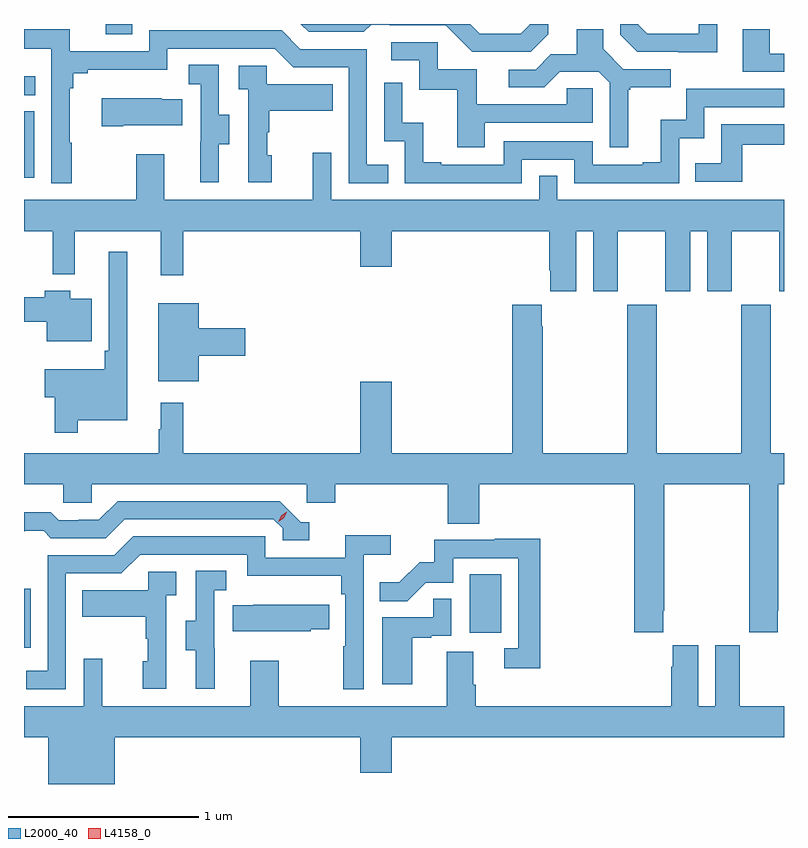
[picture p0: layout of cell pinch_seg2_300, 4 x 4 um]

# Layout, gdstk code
import gdstk
lib = gdstk.Library(unit=1e-6, precision=1e-09)
def R(c, l, rs):  # rectangles x0, y0, x1, y1
    for r in rs: c.add(gdstk.rectangle(r[:2], r[2:], *l))
def P(c, l, *ps):  # polygons
    for p in ps: c.add(gdstk.Polygon(p, *l))
L2000_40 = (2000, 40)
L4158_0 = (4158, 0)

pinch_seg2_300 = lib.new_cell('pinch_seg2_300')
R(pinch_seg2_300, L2000_40, [(930.469,636.12,930.504,636.43), (932.816,636.198,932.98,636.505), (930.469,638.592,930.523,638.943), (930.469,639.028,930.527,639.127), (930.899,639.348,931.038,639.402)])
P(pinch_seg2_300, L2000_40, [(934.117,639.402),(934.02,639.402),(934.02,639.351),(933.75,639.351),(933.702,639.399),(933.702,639.402),(933.606,639.402),(933.606,639.345),(933.696,639.255),(933.912,639.255),(933.912,639.254),(934.117,639.254)],
  [(933.229,639.349),(933.229,639.402),(933.132,639.402),(933.132,639.399),(933.084,639.351),(932.868,639.351),(932.817,639.402),(931.926,639.402),(931.968,639.36),(932.257,639.36),(932.296,639.399),(932.395,639.399),(932.395,639.396),(932.688,639.396),(932.829,639.255),(933.135,639.255)],
  [(934.469,639.246),(934.393,639.246),(934.393,639.374),(934.253,639.374),(934.253,639.15),(934.469,639.15)],
  [(933.649,639.057),(933.661,639.057),(933.661,639.068),(933.874,639.068),(933.874,639.165),(933.624,639.165),(933.517,639.272),(933.517,639.374),(933.377,639.374),(933.377,639.242),(933.242,639.242),(933.162,639.162),(933.021,639.162),(933.021,639.069),(933.208,639.069),(933.289,639.15),(933.495,639.15),(933.552,639.093),(933.552,638.754),(933.649,638.754)],
  [(930.721,638.777),(930.709,638.777),(930.709,639.065),(930.728,639.065),(930.728,639.142),(930.805,639.142),(930.805,639.161),(931.224,639.161),(931.224,639.273),(931.788,639.273),(931.887,639.174),(932.178,639.174),(932.178,638.565),(932.387,638.565),(932.387,638.661),(932.274,638.661),(932.274,639.27),(931.924,639.27),(931.825,639.369),(931.128,639.369),(931.128,639.258),(930.71,639.258),(930.71,639.374),(930.471,639.374),(930.471,639.272),(930.612,639.272),(930.612,638.565),(930.721,638.565)],
  [(932.893,638.883),(933.462,638.883),(933.462,639.063),(933.325,639.063),(933.325,638.979),(932.851,638.979),(932.851,639.165),(932.646,639.165),(932.646,639.306),(932.403,639.306),(932.403,639.21),(932.55,639.21),(932.55,639.057),(932.749,639.057),(932.749,638.754),(932.893,638.754)],
  [(931.495,638.77),(931.549,638.77),(931.549,638.925),(931.494,638.925),(931.494,639.188),(931.335,639.188),(931.335,639.085),(931.398,639.085),(931.398,638.781),(931.397,638.781),(931.397,638.568),(931.495,638.568)],
  [(931.774,638.712),(931.749,638.712),(931.749,638.831),(931.759,638.831),(931.759,638.945),(932.093,638.945),(932.093,639.085),(931.746,639.085),(931.746,639.183),(931.599,639.183),(931.599,639.059),(931.65,639.059),(931.65,638.568),(931.774,638.568)],
  [(933.09,638.688),(933.366,638.688),(933.366,638.565),(933.918,638.565),(933.918,638.801),(934.05,638.801),(934.05,638.964),(934.469,638.964),(934.469,639.06),(933.954,639.06),(933.954,638.899),(933.821,638.899),(933.821,638.674),(933.725,638.674),(933.725,638.661),(933.462,638.661),(933.462,638.784),(932.994,638.784),(932.994,638.661),(932.665,638.661),(932.665,638.674),(932.57,638.674),(932.57,638.882),(932.46,638.882),(932.46,639.094),(932.364,639.094),(932.364,638.784),(932.472,638.784),(932.472,638.565),(933.09,638.565)],
  [(930.991,638.87),(931.301,638.87),(931.301,639.007),(931.193,639.007),(931.193,639.01),(930.879,639.01),(930.879,638.863),(930.991,638.863)],
  [(934.249,638.766),(934.469,638.766),(934.469,638.874),(934.138,638.874),(934.138,638.668),(934.003,638.668),(934.003,638.571),(934.249,638.571)],
  [(933.376,638.312),(933.464,638.312),(933.464,637.995),(933.595,637.995),(933.595,638.312),(933.845,638.312),(933.845,637.995),(933.976,637.995),(933.976,638.312),(934.064,638.312),(934.064,637.995),(934.195,637.995),(934.195,638.312),(934.445,638.312),(934.445,637.995),(934.469,637.995),(934.469,638.476),(933.276,638.476),(933.276,638.603),(933.18,638.603),(933.18,638.476),(932.085,638.476),(932.085,638.725),(931.988,638.725),(931.988,638.476),(931.207,638.476),(931.207,638.716),(931.06,638.716),(931.06,638.476),(930.469,638.476),(930.469,638.312),(930.619,638.312),(930.619,638.084),(930.737,638.084),(930.737,638.312),(931.19,638.312),(931.19,638.079),(931.307,638.079),(931.307,638.312),(932.24,638.312),(932.24,638.124),(932.404,638.124),(932.404,638.312),(933.233,638.312),(933.233,638.107),(933.239,638.107),(933.239,637.995),(933.376,637.995)],
  [(930.751,637.316),(931.012,637.316),(931.012,638.203),(930.915,638.203),(930.915,637.681),(930.895,637.681),(930.895,637.585),(930.578,637.585),(930.578,637.438),(930.63,637.438),(930.63,637.251),(930.751,637.251)],
  [(930.826,637.957),(930.712,637.957),(930.712,637.999),(930.578,637.999),(930.578,637.965),(930.469,637.965),(930.469,637.835),(930.59,637.835),(930.59,637.733),(930.826,637.733)],
  [(931.39,637.655),(931.633,637.655),(931.633,637.802),(931.39,637.802),(931.39,637.933),(931.175,637.933),(931.175,637.523),(931.39,637.523)],
  [(933.68,636.201),(933.833,636.201),(933.833,636.313),(933.84,636.313),(933.84,636.98),(934.285,636.98),(934.285,636.313),(934.287,636.313),(934.287,636.201),(934.437,636.201),(934.437,636.313),(934.44,636.313),(934.44,636.98),(934.469,636.98),(934.469,637.144),(934.398,637.144),(934.398,637.924),(934.243,637.924),(934.243,637.144),(933.798,637.144),(933.798,637.924),(933.643,637.924),(933.643,637.144),(933.198,637.144),(933.198,637.811),(933.193,637.811),(933.193,637.924),(933.038,637.924),(933.038,637.144),(932.404,637.144),(932.404,637.519),(932.24,637.519),(932.24,637.144),(931.307,637.144),(931.307,637.408),(931.19,637.408),(931.19,637.268),(931.179,637.268),(931.179,637.144),(930.469,637.144),(930.469,636.98),(930.675,636.98),(930.675,636.882),(930.825,636.882),(930.825,636.98),(931.956,636.98),(931.956,636.882),(932.108,636.882),(932.108,636.98),(932.699,636.98),(932.699,636.772),(932.864,636.772),(932.864,636.98),(933.68,636.98)],
  [(931.969,636.78),(931.926,636.78),(931.815,636.891),(930.962,636.891),(930.863,636.792),(930.756,636.792),(930.756,636.789),(930.653,636.789),(930.611,636.832),(930.469,636.832),(930.469,636.732),(930.473,636.732),(930.473,636.735),(930.572,636.735),(930.611,636.696),(930.9,636.696),(930.999,636.795),(931.782,636.795),(931.83,636.747),(931.83,636.684),(931.969,636.684)],
  [(930.69,636.51),(930.981,636.51),(931.08,636.609),(931.644,636.609),(931.644,636.497),(932.14,636.497),(932.14,636.401),(932.16,636.401),(932.16,636.128),(932.148,636.128),(932.148,635.901),(932.256,635.901),(932.256,636.608),(932.398,636.608),(932.398,636.71),(932.159,636.71),(932.159,636.594),(931.74,636.594),(931.74,636.705),(931.043,636.705),(930.944,636.606),(930.594,636.606),(930.594,635.997),(930.481,635.997),(930.481,635.901),(930.69,635.901)],
  [(933.185,636.692),(932.947,636.692),(932.947,636.687),(932.629,636.687),(932.629,636.57),(932.552,636.57),(932.445,636.463),(932.341,636.463),(932.341,636.364),(932.485,636.364),(932.583,636.462),(932.727,636.462),(932.727,636.591),(933.069,636.591),(933.069,636.117),(932.997,636.117),(932.997,636.012),(933.185,636.012)],
  [(931.472,636.117),(931.47,636.117),(931.47,636.421),(931.534,636.421),(931.534,636.524),(931.374,636.524),(931.374,636.261),(931.319,636.261),(931.319,636.106),(931.373,636.106),(931.373,635.904),(931.472,635.904)],
  [(931.218,636.395),(931.27,636.395),(931.27,636.519),(931.122,636.519),(931.122,636.421),(930.775,636.421),(930.775,636.281),(931.11,636.281),(931.11,636.167),(931.12,636.167),(931.12,636.048),(931.094,636.048),(931.094,635.904),(931.218,635.904)],
  [(932.512,636.171),(932.612,636.171),(932.612,636.183),(932.718,636.183),(932.718,636.377),(932.623,636.377),(932.623,636.279),(932.354,636.279),(932.354,635.928),(932.512,635.928)],
  [(931.977,636.217),(932.075,636.217),(932.075,636.346),(931.675,636.346),(931.675,636.343),(931.567,636.343),(931.567,636.206),(931.977,636.206)],
  [(930.946,635.648),(932.24,635.648),(932.24,635.46),(932.404,635.46),(932.404,635.648),(934.469,635.648),(934.469,635.812),(934.237,635.812),(934.237,636.02),(934.236,636.02),(934.236,636.133),(934.106,636.133),(934.106,635.812),(934.018,635.812),(934.018,636.133),(933.884,636.133),(933.884,636.02),(933.875,636.02),(933.875,635.812),(932.846,635.812),(932.846,635.924),(932.833,635.924),(932.833,636.098),(932.693,636.098),(932.693,635.812),(931.809,635.812),(931.809,636.052),(931.661,636.052),(931.661,635.812),(930.881,635.812),(930.881,636.061),(930.783,636.061),(930.783,635.812),(930.469,635.812),(930.469,635.648),(930.596,635.648),(930.596,635.402),(930.946,635.402)])
P(pinch_seg2_300, L4158_0, [(931.806,636.781),(931.806,636.781),(931.822,636.814),(931.853,636.834),(931.853,636.834),(931.853,636.834),(931.837,636.801),(931.806,636.781)])

lib.write_gds('pinch_seg2_300.gds')
